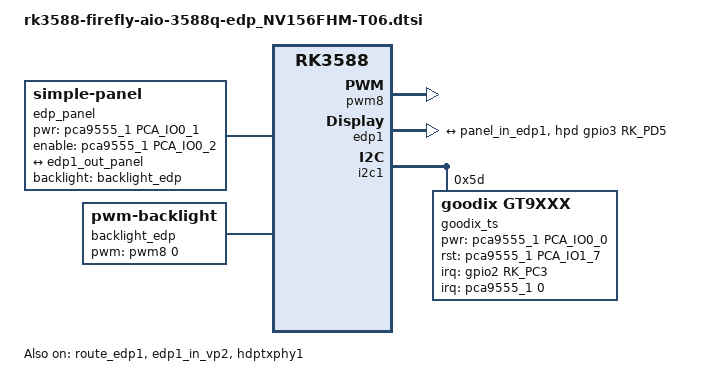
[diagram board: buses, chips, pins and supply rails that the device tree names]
// SPDX-License-Identifier: (GPL-2.0+ OR MIT)
/*
 * Copyright (c) 2021 Rockchip Electronics Co., Ltd.
 *
 */
/ {
/*
    vcc_edp_power: vcc-edp-power-regulator {
        compatible = "regulator-fixed";
        enable-active-high;
   		gpio =  <&pca9555_1 PCA_IO0_1 GPIO_ACTIVE_HIGH>;
		//gpio =  <&pca9555_1 PCA_IO0_2 GPIO_ACTIVE_HIGH>; //BL

		regulator-name = "vcc_edp_power_en";
       	regulator-boot-on;

		regulator-always-on;
		regulator-state-mem {
			regulator-off-in-suspend;
		};
   };
*/
    edp_panel: edp-panel {
        compatible = "simple-panel";
        status = "okay";
		// enable-gpios = <&gpio3 RK_PA6 GPIO_ACTIVE_HIGH>;
        //bus-format = <MEDIA_BUS_FMT_RBG888_1X24>;
        backlight = <&backlight_edp>;
		//enable-gpios = <&pca9555_1 PCA_IO0_1 GPIO_ACTIVE_HIGH>;
		pwr-gpios = <&pca9555_1 PCA_IO0_1 GPIO_ACTIVE_HIGH>;
		pwr-delay-ms = <200>;
		enable-gpios = <&pca9555_1 PCA_IO0_2 GPIO_ACTIVE_HIGH>; // EDP_BL_EN
        display-timings {
            native-mode = <&timing0>;
            timing0: timing0 {
                clock-frequency = <140000000>;
                hactive = <1920>;
                vactive = <1080>;
                hfront-porch = <40>;
                hsync-len = <40>;
                hback-porch = <80>;
                vfront-porch = <16>;
                vsync-len = <8>;
                vback-porch = <16>;
                hsync-active = <0>;
                vsync-active = <0>;
                de-active = <0>;
                pixelclk-active = <0>;
            };
        };

        port {
            panel_in_edp1: endpoint {
                remote-endpoint = <&edp1_out_panel>;
            };
        };
    };

    backlight_edp: backlight-edp {
        status = "okay";
        compatible = "pwm-backlight";
        //enable-gpios = <&pca9555_1 PCA_IO0_2 GPIO_ACTIVE_HIGH>; // EDP_BL_EN
		pwms = <&pwm8 0 500000 0>;
        brightness-levels = <
              0   1   2   3   4   5   6   7
              8   9  10  11  12  13  14  15
             16  17  18  19  20  21  22  23
             24  25  26  27  28  29  30  31
             32  33  34  35  36  37  38  39
             40  41  42  43  44  45  46  47
             48  49  50  51  52  53  54  55
             56  57  58  59  60  61  62  63
             64  65  66  67  68  69  70  71
             72  73  74  75  76  77  78  79
             80  81  82  83  84  85  86  87
             88  89  90  91  92  93  94  95
             96  97  98  99 100 101 102 103
            104 105 106 107 108 109 110 111
            112 113 114 115 116 117 118 119
            120 121 122 123 124 125 126 127
            128 129 130 131 132 133 134 135
            136 137 138 139 140 141 142 143
            144 145 146 147 148 149 150 151
            152 153 154 155 156 157 158 159
            160 161 162 163 164 165 166 167
            168 169 170 171 172 173 174 175
            176 177 178 179 180 181 182 183
            184 185 186 187 188 189 190 191
            192 193 194 195 196 197 198 199
            200 201 202 203 204 205 206 207
            208 209 210 211 212 213 214 215
            216 217 218 219 220 221 222 223
            224 225 226 227 228 229 230 231
            232 233 234 235 236 237 238 239
            240 241 242 243 244 245 246 247
            248 249 250 251 252 253 254 255>;
        default-brightness-level = <200>;
    };
};

&pwm8 {
    pinctrl-0 = <&pwm8m2_pins>;
    status = "okay";
};


&edp1 {
	//force-hpd;
	hpd-gpios = <&gpio3 RK_PD5 GPIO_ACTIVE_HIGH>;
	status = "okay";
//	enable-delay-ms = <200>;

	ports {
		port@1 {
			reg = <1>;

			edp1_out_panel: endpoint {
				remote-endpoint = <&panel_in_edp1>;
			};
		};
	};
};

&route_edp1 {
	status = "okay";
	connect = <&vp2_out_edp1>;
};

&edp1_in_vp2 {
	status = "okay";
};

&hdptxphy1 {
	status = "okay";
};

&pca9555_1 {
    interrupt-controller;
    //interrupt-parent = <&gpio1>; 
    //interrupts = <RK_PC6 IRQ_TYPE_LEVEL_HIGH>;
	//suspend-io-state = <0xFFF3>;
	//resume-io-state  = <0xFFFF>;
	//pinctrl-names = "default";
   // pinctrl-0 = <&pca9555_int1>;

};

&i2c1{
    status = "okay";
    goodix_ts@5d {
        status = "okay";
        compatible = "goodix,gt9xxx";
        reg = <0x5d>;
        interrupt-parent = <&pca9555_1>;
        interrupts = <0 17 0x2008 0>;
		//interrupts = <PCA_IO1_6 IRQ_TYPE_LEVEL_HIGH>;
        goodix,pwr-gpio = <&pca9555_1 PCA_IO0_0 GPIO_ACTIVE_HIGH>;
        goodix,rst-gpio = <&pca9555_1 PCA_IO1_7 GPIO_ACTIVE_HIGH>;
        goodix,irq-gpio = <&gpio2 RK_PC3 IRQ_TYPE_LEVEL_LOW>;
        flip-x = <0>;
        flip-y = <0>;
        //If read-tp-thread is defined, interrupt method is used to read tp data; otherwise, polling method is used
        read-tp-thread;
		goodix,cfg-group2 = [
            5a 00 40 80 25 0a 7d 00 01 08 
            28 05 5f 32 03 05 00 00 00 00 
            00 00 00 1a 1c 1e 14 95 35 ff 
            2a 2c b5 06 00 00 02 b9 03 1d 
            1a 1c 1e 90 00 00 00 00 00 00 
            00 1e 42 94 c5 02 07 00 00 04 
            f5 20 00 c7 26 00 a6 2c 00 8a 
            34 00 73 3d 00 73 00 00 00 00 
            00 00 00 00 00 00 00 00 00 00 
            00 00 00 00 00 00 00 00 00 00 
            00 00 00 00 03 00 00 00 00 00 
            00 00 00 01 02 03 04 05 06 07 
            08 09 0a 0b 0c 0d 0e 0f 10 11 
            12 13 14 15 16 17 18 19 1a 1b 
            1c 1d 2a 29 28 27 26 25 24 23 
            22 21 20 1f 1e 1d 1c 1b 19 18 
            17 16 15 14 13 12 11 10 0f 0e 
            0d 0c 0b 0a 09 08 07 06 05 04 
            03 02 01 00 cc 01 
        ];
    };
};
/*
&pinctrl {
	pca9555int {
		pca9555_int1: pca9555-int1 {
			rockchip,pins = <1 RK_PC6 RK_FUNC_GPIO &pcfg_pull_up>;
		};
	};
};
*/
